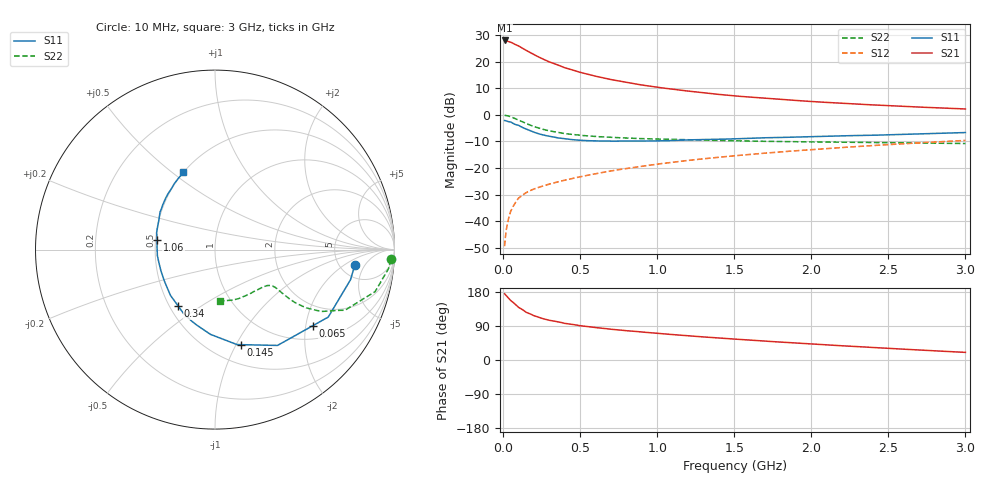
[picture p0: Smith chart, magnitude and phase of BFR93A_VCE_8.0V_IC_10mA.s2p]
! Infineon Technologies  Discrete & RF Semiconductors
! BFR93A
! VCE =  8.0 V,  IC =  10 mA
! Common Emitter S-Parameters:  Nov 2015
# GHz  S  MA  R  50
!  f  S11  S21  S12  S22
! GHz  MAG  ANG  MAG  ANG  MAG  ANG  MAG  ANG
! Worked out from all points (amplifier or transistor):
!   180 points, 10 MHz to 3 GHz, reference 50 ohm
!   highest |S21| = 28.0 dB at 10 MHz (marker M1)
!   |S21| within 3 dB of that: start of sweep to 127.8 MHz
!   unconditionally stable (mu >= 1): 597.4 MHz to 2.563 GHz
!   at 160 MHz: K = 0.49, MSG = 26.4 dB, |S12| = -28.9 dB
!   at 1.22 GHz: K = 1.09, MAG = 11.1 dB, |S12| = -17.0 dB
!   at 3 GHz: K = 0.95, MSG = 5.9 dB, |S12| = -9.6 dB
!   S11 on the Smith chart (normalised r, x): 10 MHz: 6.86, -3.05; 65 MHz: 1.36, -2.20; 145 MHz: 0.69, -1.05; 340 MHz: 0.55, -0.41; 1.06 GHz: 0.51, +0.06; 3 GHz: 0.50, +0.55
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0.01  0.7836 -6.3  25.02 174.7  0.0034 86.1  0.9817 -3.2
0.02  0.7736 -12.5  24.74 170.0  0.0066 82.4  0.9729 -6.2
0.05  0.7345 -30.8  23.3 156.7  0.0155 75.4  0.9224 -14.7
0.065  0.691 -37.8  22.04 152.0  0.0189 71.2  0.883 -17.5
0.1  0.6374 -56.9  19.78 139.0  0.0271 65.6  0.8003 -24.9
0.145  0.549 -74.7  16.58 127.4  0.0337 60.5  0.6964 -29.6
0.15  0.543 -77.0  16.27 125.9  0.0345 60.1  0.6852 -30.2
0.2  0.4728 -93.1  13.54 116.9  0.0403 58.6  0.6025 -32.6
0.24  0.4335 -103.3  11.87 111.5  0.0442 57.8  0.5542 -33.3
0.26  0.419 -108.1  11.15 109.0  0.0461 57.7  0.5337 -33.5
0.3  0.3957 -116.5  9.897 104.8  0.0499 58.0  0.4995 -33.5
0.34  0.3755 -123.1  8.994 102.0  0.0536 58.7  0.4773 -33.3
0.4  0.3559 -134.2  7.689 96.7  0.0591 59.6  0.4441 -32.9
0.52  0.33 -149.7  6.098 89.6  0.0704 61.1  0.4084 -32.3
0.7  0.3211 -166.5  4.607 81.2  0.0882 62.8  0.3773 -32.4
0.88  0.3226 -179.2  3.723 74.6  0.1058 63.7  0.3592 -33.7
1.02  0.3248 172.7  3.243 69.7  0.1204 63.7  0.3499 -35.2
1.06  0.3267 170.6  3.136 68.4  0.1245 63.6  0.3473 -35.8
1.52  0.3551 151.5  2.247 54.7  0.1719 61.8  0.3247 -43.8
2.02  0.3916 136.0  1.768 41.8  0.2239 58.4  0.3097 -55.1
2.52  0.4237 123.8  1.477 30.4  0.2778 53.9  0.2994 -68.4
3  0.4647 112.2  1.29 20.1  0.3307 49.2  0.289 -84.2
